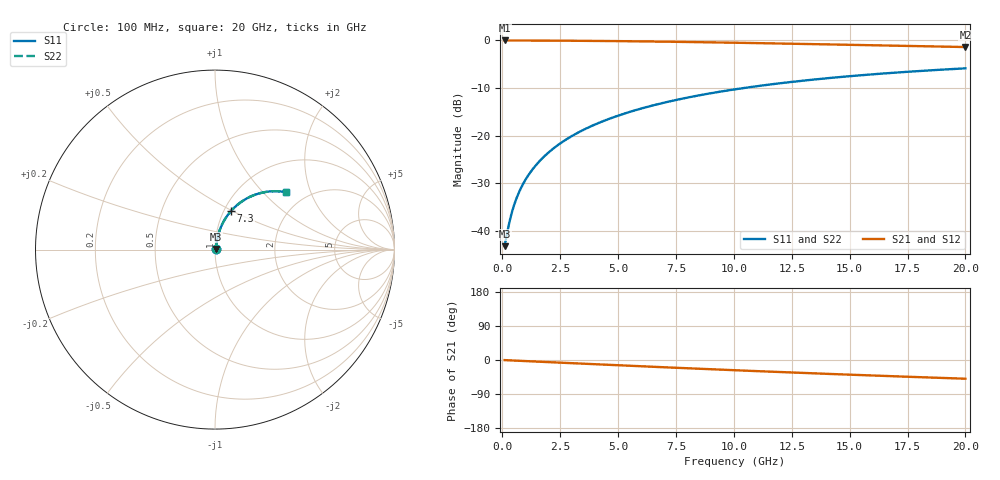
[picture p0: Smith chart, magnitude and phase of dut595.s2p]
! Touchstone file exported from HFSS 2026.1.0
!  File:  C:/ffzhzh/LocalFiles/Ansys_Project_Files/temp_train_BSMRDL_595_1783015948_4048.aedt
!  Generated:  02:13:49 AM Jul  3, 2026
!  Design:  BSMRDL
!  Project:  temp_train_BSMRDL_595_1783015948_4048
! Variables:
!  h_bsmrdl = 2.63um
!  h_ox = 20um
!  h_rdl = 5um
!  h_sub = 80um
!  h_tmrdl = 5um
!  h_tsv = 80um
!  h_via = 3um
!  l_bsmrdl = 689.45um
!  l_sub = 1089.45um
!  l_tmrdl = 200um
!  m_sub = 200um
!  pitch = 47.5um
!  r_tsv = 6um
!  s_tmrdl = 10um
!  w_bsmrdl = 15.76um
!  w_sub = 500um
!  w_tmrdl = 12um
!  x_tsv_center1 = 206um
!  x_tsv_center2 = 911.21um
!  x_tsv_center3 = 1123.21um
!  x_tsv_center4 = 1828.42um
!  x_tsv_center5 = 2040.42um
!  x_tsv_center6 = 2745.63um
# GHz S MA R 50.000000
! Terminal data exported
! Port[1] = BSM_RDL1_1_T1
! Port[2] = BSM_RDL1_1_T2
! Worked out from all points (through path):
!   200 points, 100 MHz to 20 GHz, reference 50 ohm
!   highest |S21| = -0.05 dB at 100 MHz (marker M1); lowest = -1.4 dB at 20 GHz (marker M2)
!   group delay of S21, straight-line fit = 6.88 ps
!   lowest |S11| = -43.1 dB at 100 MHz (marker M3), VSWR 1.01, Z = 50.6 + j0.355 ohm
!   |S11| at or under -10 dB: start of sweep to 10.45 GHz
!   |S22| runs from -43.1 to -5.9 dB; largest |S21 - S12| = 3.4e-15
!   S11 on the Smith chart (normalised r, x): 100 MHz: 1.01, +0.01; 7.3 GHz: 1.08, +0.49; 20 GHz: 1.58, +1.36
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0.1  0.006965 30.2  0.994 -0.3  0.994 -0.3  0.006965 30.2
! Gamma 0 0 0 0
! Port Impedance 50 0 50 0
0.3  0.01222 58.5  0.9937 -0.9  0.9937 -0.9  0.01222 58.5
0.4  0.01532 64.2  0.9935 -1.2  0.9935 -1.2  0.01532 64.2
0.5  0.01848 67.9  0.9933 -1.4  0.9933 -1.4  0.01848 67.9
0.6  0.02168 70.4  0.9931 -1.7  0.9931 -1.7  0.02168 70.4
0.8  0.02809 73.5  0.9927 -2.3  0.9927 -2.3  0.02809 73.5
1.1  0.03773 75.9  0.9922 -3.1  0.9922 -3.1  0.03773 75.9
1.3  0.04417 76.8  0.9918 -3.7  0.9918 -3.7  0.04417 76.8
1.6  0.05386 77.6  0.9912 -4.5  0.9912 -4.5  0.05386 77.6
2.1  0.07002 77.9  0.99 -5.9  0.99 -5.9  0.07002 77.9
2.7  0.08938 77.4  0.9883 -7.6  0.9883 -7.6  0.08938 77.4
3.5  0.115 76.2  0.9854 -9.8  0.9854 -9.8  0.115 76.2
4.2  0.1371 74.8  0.9823 -11.7  0.9823 -11.7  0.1371 74.8
5  0.1621 73.1  0.9782 -13.9  0.9782 -13.9  0.1621 73.1
5.9  0.1895 71.0  0.9729 -16.3  0.9729 -16.3  0.1895 71.0
6.8  0.2163 68.8  0.967 -18.7  0.967 -18.7  0.2163 68.8
7.3  0.2308 67.6  0.9634 -20.0  0.9634 -20.0  0.2308 67.6
8.6  0.2673 64.4  0.9534 -23.4  0.9534 -23.4  0.2673 64.4
10.1  0.3073 60.8  0.9407 -27.2  0.9407 -27.2  0.3073 60.8
13.4  0.3861 53.1  0.9102 -35.1  0.9102 -35.1  0.3861 53.1
16.7  0.4526 45.9  0.8786 -42.5  0.8786 -42.5  0.4526 45.8
20  0.5074 39.1  0.8481 -49.4  0.8481 -49.4  0.5074 39.1
